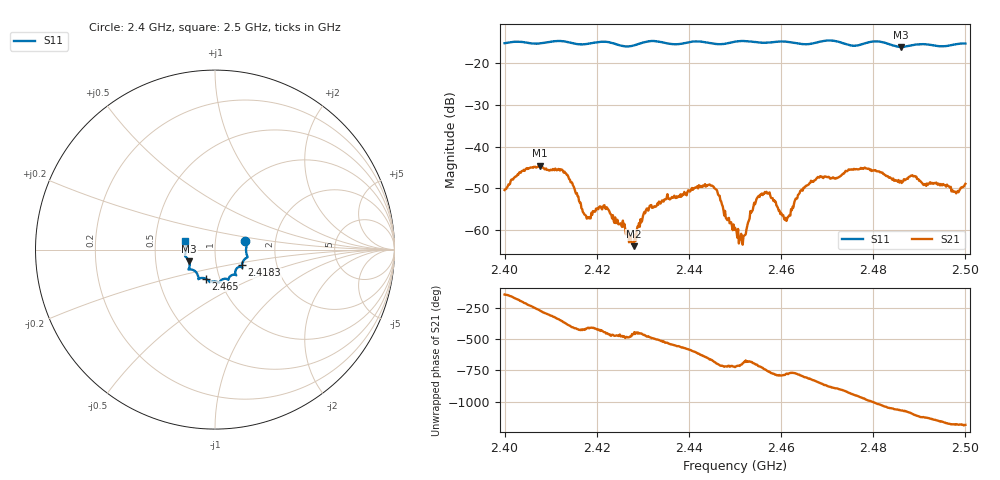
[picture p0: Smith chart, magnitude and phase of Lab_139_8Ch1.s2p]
# Hz S RI R
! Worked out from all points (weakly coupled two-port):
!   601 points, 2.4 GHz to 2.5 GHz, reference 50 ohm
!   highest |S21| = -44.50 dB at 2.4077 GHz (marker M1); lowest = -63.8 dB at 2.428 GHz (marker M2)
!   lowest |S11| = -16.0 dB at 2.486 GHz (marker M3), VSWR 1.38, Z = 37.1 - j4.98 ohm
!   |S11| at or under -10 dB: start of sweep to end of sweep
!   S12 and S22 are empty: the file has one direction only
!   S11 on the Smith chart (normalised r, x): 2.4 GHz: 1.40, +0.13; 2.4183 GHz: 1.33, -0.24; 2.465 GHz: 0.86, -0.29; 2.5 GHz: 0.71, +0.07
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2.4e9  0.169 0.0456  -0.00244 -0.00179  0 0  0 0
2.407667e9  0.1737 -0.0115  0.000166 0.00596  0 0  0 0
2.412833e9  0.1793 -0.0436  0.00488 -0.000542  0 0  0 0
2.416667e9  0.1551 -0.0684  0.000852 -0.00163  0 0  0 0
2.418333e9  0.1499 -0.0871  0.000809 -0.00112  0 0  0 0
2.422e9  0.1522 -0.0998  -0.00017 -0.00179  0 0  0 0
2.428e9  0.1137 -0.1187  -0.000124 -0.000631  0 0  0 0
2.4305e9  0.1153 -0.1393  -0.00055 -0.0015  0 0  0 0
2.433333e9  0.1168 -0.1413  -0.00166 -0.00114  0 0  0 0
2.444833e9  0.063 -0.1628  0.002 0.00278  0 0  0 0
2.45e9  0.0252 -0.1808  0.00107 -6.84e-05  0 0  0 0
2.452e9  0.021 -0.1847  0.000666 0.000547  0 0  0 0
2.4545e9  0.0109 -0.1798  0.00209 0.000618  0 0  0 0
2.456333e9  -0.0038 -0.1771  0.00256 -0.000925  0 0  0 0
2.461167e9  -0.0305 -0.1798  0.000723 -0.00107  0 0  0 0
2.465e9  -0.0525 -0.1621  0.000376 -0.00318  0 0  0 0
2.466667e9  -0.0712 -0.158  -0.000901 -0.00368  0 0  0 0
2.477833e9  -0.1308 -0.1113  -0.00149 0.00523  0 0  0 0
2.483333e9  -0.1421 -0.0962  0.00368 0.00224  0 0  0 0
2.486e9  -0.144 -0.0654  0.00385 0.000681  0 0  0 0
2.498e9  -0.1667 0.0359  -0.000441 -0.00273  0 0  0 0
2.5e9  -0.1668 0.0472  -0.000936 -0.00347  0 0  0 0
